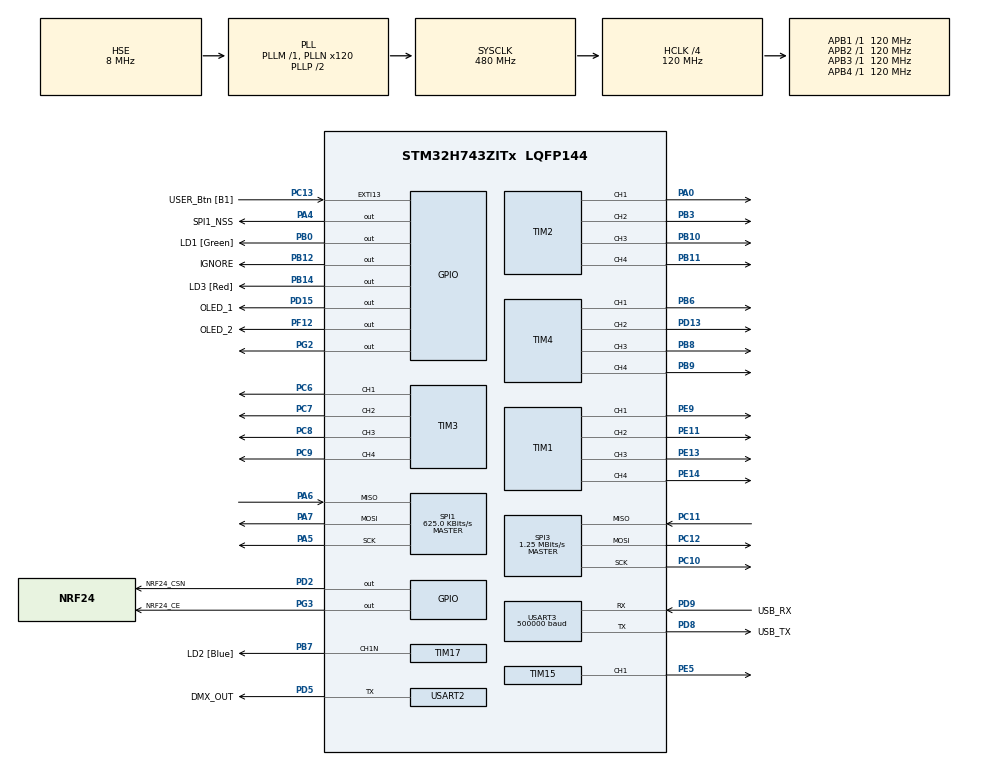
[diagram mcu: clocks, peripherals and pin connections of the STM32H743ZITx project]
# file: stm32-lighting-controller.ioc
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CORTEX_M7.CPU_ICache=Disabled
Dma.Request0=USART2_TX
Dma.Request1=TIM15_CH1
Dma.TIM15_CH1.1.Direction=DMA_MEMORY_TO_PERIPH
Dma.TIM15_CH1.1.EventEnable=DISABLE
Dma.TIM15_CH1.1.FIFOMode=DMA_FIFOMODE_DISABLE
Dma.TIM15_CH1.1.Instance=DMA1_Stream1
Dma.TIM15_CH1.1.MemDataAlignment=DMA_MDATAALIGN_HALFWORD
Dma.TIM15_CH1.1.MemInc=DMA_MINC_ENABLE
Dma.TIM15_CH1.1.Mode=DMA_CIRCULAR
Dma.TIM15_CH1.1.PeriphDataAlignment=DMA_PDATAALIGN_HALFWORD
Dma.TIM15_CH1.1.PeriphInc=DMA_PINC_DISABLE
Dma.TIM15_CH1.1.Polarity=HAL_DMAMUX_REQ_GEN_RISING
Dma.TIM15_CH1.1.Priority=DMA_PRIORITY_LOW
Dma.TIM15_CH1.1.RequestNumber=1
Dma.TIM15_CH1.1.SignalID=NONE
Dma.TIM15_CH1.1.SyncEnable=DISABLE
Dma.TIM15_CH1.1.SyncPolarity=HAL_DMAMUX_SYNC_NO_EVENT
Dma.TIM15_CH1.1.SyncRequestNumber=1
Dma.TIM15_CH1.1.SyncSignalID=NONE
Dma.USART2_TX.0.Direction=DMA_MEMORY_TO_PERIPH
Dma.USART2_TX.0.EventEnable=DISABLE
Dma.USART2_TX.0.FIFOMode=DMA_FIFOMODE_DISABLE
Dma.USART2_TX.0.Instance=DMA1_Stream0
Dma.USART2_TX.0.MemDataAlignment=DMA_MDATAALIGN_BYTE
Dma.USART2_TX.0.MemInc=DMA_MINC_ENABLE
Dma.USART2_TX.0.Mode=DMA_NORMAL
Dma.USART2_TX.0.PeriphDataAlignment=DMA_PDATAALIGN_BYTE
Dma.USART2_TX.0.PeriphInc=DMA_PINC_DISABLE
Dma.USART2_TX.0.Polarity=HAL_DMAMUX_REQ_GEN_RISING
Dma.USART2_TX.0.Priority=DMA_PRIORITY_MEDIUM
Dma.USART2_TX.0.RequestNumber=1
Dma.USART2_TX.0.SignalID=NONE
Dma.USART2_TX.0.SyncEnable=DISABLE
Dma.USART2_TX.0.SyncPolarity=HAL_DMAMUX_SYNC_NO_EVENT
Dma.USART2_TX.0.SyncRequestNumber=1
Dma.USART2_TX.0.SyncSignalID=NONE
Mcu.Family=STM32H7
Mcu.Name=STM32H743ZITx
Mcu.Package=LQFP144
Mdma.MDMA_Channel0.DMA1_Stream1_TC.0.BlockCount=0
Mdma.MDMA_Channel0.DMA1_Stream1_TC.0.BlockDataLength=0
Mdma.MDMA_Channel0.DMA1_Stream1_TC.0.BufferTransferLength=1
Mdma.MDMA_Channel0.DMA1_Stream1_TC.0.CircularMode=MDMA_LINEAR_LIST
Mdma.MDMA_Channel0.DMA1_Stream1_TC.0.DataAlignment=MDMA_DATAALIGN_RIGHT
Mdma.MDMA_Channel0.DMA1_Stream1_TC.0.DestBlockAddressOffset=0
Mdma.MDMA_Channel0.DMA1_Stream1_TC.0.DestBurst=MDMA_DEST_BURST_SINGLE
Mdma.MDMA_Channel0.DMA1_Stream1_TC.0.DestDataSize=MDMA_DEST_DATASIZE_WORD
Mdma.MDMA_Channel0.DMA1_Stream1_TC.0.DestinationInc=MDMA_DEST_INC_DISABLE
Mdma.MDMA_Channel0.DMA1_Stream1_TC.0.DstAddress=0
Mdma.MDMA_Channel0.DMA1_Stream1_TC.0.Endianness=MDMA_LITTLE_ENDIANNESS_PRESERVE
Mdma.MDMA_Channel0.DMA1_Stream1_TC.0.Instance=MDMA_Channel0
Mdma.MDMA_Channel0.DMA1_Stream1_TC.0.MaskAddress=0
Mdma.MDMA_Channel0.DMA1_Stream1_TC.0.MaskData=0
Mdma.MDMA_Channel0.DMA1_Stream1_TC.0.Priority=MDMA_PRIORITY_LOW
Mdma.MDMA_Channel0.DMA1_Stream1_TC.0.Rank=First
Mdma.MDMA_Channel0.DMA1_Stream1_TC.0.SourceBlockAddressOffset=0
Mdma.MDMA_Channel0.DMA1_Stream1_TC.0.SourceBurst=MDMA_SOURCE_BURST_SINGLE
Mdma.MDMA_Channel0.DMA1_Stream1_TC.0.SourceDataSize=MDMA_SRC_DATASIZE_BYTE
Mdma.MDMA_Channel0.DMA1_Stream1_TC.0.SourceInc=MDMA_SRC_INC_BYTE
Mdma.MDMA_Channel0.DMA1_Stream1_TC.0.SrcAddress=0
Mdma.MDMA_Channel0.DMA1_Stream1_TC.0.TransferTriggerMode=MDMA_REPEAT_BLOCK_TRANSFER
Mdma.MDMA_Channel0.Request0=DMA1_Stream1_TC
Mdma.MDMA_Channel0.RequestsNb=1
Mdma.RequestSet0=MDMA_Channel0
Mdma.RequestSetsNb=1
NVIC.DMA1_Stream0_IRQn=true\:6\:0\:true\:false\:true\:false\:true
NVIC.DMA1_Stream1_IRQn=true\:0\:0\:false\:false\:true\:false\:true
NVIC.EXTI15_10_IRQn=true\:12\:0\:true\:false\:true\:true\:true
NVIC.PriorityGroup=NVIC_PRIORITYGROUP_4
NVIC.TIM16_IRQn=true\:6\:0\:true\:false\:true\:true\:true
NVIC.TIM1_UP_IRQn=true\:12\:0\:true\:false\:true\:true\:true
NVIC.USART3_IRQn=true\:10\:0\:true\:false\:true\:true\:false
PA0.Signal=S_TIM2_CH1
PA4.GPIO_Label=SPI1_NSS
PA4.Signal=GPIO_Output
PA5.GPIO_PuPd=GPIO_NOPULL
PA5.GPIO_Speed=GPIO_SPEED_FREQ_VERY_HIGH
PA5.Mode=Full_Duplex_Master
PA5.Signal=SPI1_SCK
PA6.GPIO_PuPd=GPIO_NOPULL
PA6.GPIO_Speed=GPIO_SPEED_FREQ_VERY_HIGH
PA6.Mode=Full_Duplex_Master
PA6.Signal=SPI1_MISO
PA7.GPIO_PuPd=GPIO_NOPULL
PA7.GPIO_Speed=GPIO_SPEED_FREQ_VERY_HIGH
PA7.Mode=Full_Duplex_Master
PA7.Signal=SPI1_MOSI
PB0.GPIO_Label=LD1 [Green]
PB0.Signal=GPIO_Output
PB10.Signal=S_TIM2_CH3
PB11.Signal=S_TIM2_CH4
PB12.GPIO_Label=IGNORE
PB12.Signal=GPIO_Output
PB14.GPIO_Label=LD3 [Red]
PB14.Signal=GPIO_Output
PB3\ (JTDO/TRACESWO).Signal=S_TIM2_CH2
PB6.Signal=S_TIM4_CH1
PB7.GPIO_Label=LD2 [Blue]
PB7.Mode=PWM Generation1 CH1N
PB7.Signal=TIM17_CH1N
PB8.Signal=S_TIM4_CH3
PB9.Signal=S_TIM4_CH4
PC10.GPIO_Speed=GPIO_SPEED_FREQ_MEDIUM
PC10.Mode=Full_Duplex_Master
PC10.Signal=SPI3_SCK
PC11.GPIO_Speed=GPIO_SPEED_FREQ_MEDIUM
PC11.Mode=Full_Duplex_Master
PC11.Signal=SPI3_MISO
PC12.GPIO_Speed=GPIO_SPEED_FREQ_MEDIUM
PC12.Mode=Full_Duplex_Master
PC12.Signal=SPI3_MOSI
PC13.GPIO_Label=USER_Btn [B1]
PC13.GPIO_ModeDefaultEXTI=GPIO_MODE_IT_RISING_FALLING
PC13.Signal=GPXTI13
PC14-OSC32_IN\ (OSC32_IN).Mode=LSE-External-Oscillator
PC14-OSC32_IN\ (OSC32_IN).Signal=RCC_OSC32_IN
PC15-OSC32_OUT\ (OSC32_OUT).Mode=LSE-External-Oscillator
PC15-OSC32_OUT\ (OSC32_OUT).Signal=RCC_OSC32_OUT
PC6.Signal=S_TIM3_CH1
PC7.Signal=S_TIM3_CH2
PC8.Signal=S_TIM3_CH3
PC9.Signal=S_TIM3_CH4
PD13.Signal=S_TIM4_CH2
PD15.GPIO_Label=OLED_1
PD15.Signal=GPIO_Output
PD2.GPIO_Label=NRF24_CSN
PD2.GPIO_Speed=GPIO_SPEED_FREQ_MEDIUM
PD2.Signal=GPIO_Output
PD5.GPIO_Label=DMX_OUT
PD5.GPIO_ModeDefaultOD=GPIO_MODE_AF_PP
PD5.GPIO_PuPd=GPIO_PULLUP
PD5.Mode=Half_duplex(single_wire_mode)
PD5.Signal=USART2_TX
PD8.GPIO_Label=USB_TX
PD8.Mode=Asynchronous
PD8.Signal=USART3_TX
PD9.GPIO_Label=USB_RX
PD9.Mode=Asynchronous
PD9.Signal=USART3_RX
PE11.Signal=S_TIM1_CH2
PE13.Signal=S_TIM1_CH3
PE14.Signal=S_TIM1_CH4
PE5.GPIO_Speed=GPIO_SPEED_FREQ_HIGH
PE5.Signal=S_TIM15_CH1
PE9.Signal=S_TIM1_CH1
PF12.GPIO_Label=OLED_2
PF12.Signal=GPIO_Output
PF7.Signal=SPI5_SCK
PF8.Signal=SPI5_MISO
PF9.Signal=SPI5_MOSI
PG2.Signal=GPIO_Output
PG3.GPIO_Label=NRF24_CE
PG3.GPIO_Speed=GPIO_SPEED_FREQ_MEDIUM
PG3.Signal=GPIO_Output
PH0-OSC_IN\ (PH0).GPIO_Label=MCO
PH0-OSC_IN\ (PH0).Mode=HSE-External-Clock-Source
PH0-OSC_IN\ (PH0).Signal=RCC_OSC_IN
PH1-OSC_OUT\ (PH1).Mode=HSE-External-Clock-Source
PH1-OSC_OUT\ (PH1).Signal=RCC_OSC_OUT
ProjectManager.HeapSize=0x200
ProjectManager.StackSize=0x400
ProjectManager.TargetToolchain=SW4STM32
RCC.48MHZClocksFreq_Value=24000000
RCC.ADCFreq_Value=60000000
RCC.AHBFreq_Value=216000000
RCC.APB1CLKDivider=RCC_HCLK_DIV4
RCC.APB1Freq_Value=120000000
RCC.APB1TimFreq_Value=108000000
RCC.APB2CLKDivider=RCC_HCLK_DIV2
RCC.APB2Freq_Value=120000000
RCC.APB2TimFreq_Value=216000000
RCC.APB3Freq_Value=120000000
RCC.APB4Freq_Value=120000000
RCC.CortexFreq_Value=480000000
RCC.DIVM1=1
RCC.DIVM2=4
RCC.DIVN1=120
RCC.DIVN2=120
RCC.DIVP2=4
RCC.DIVQ1=24
RCC.HCLKFreq_Value=120000000
RCC.HPRE=RCC_HCLK_DIV4
RCC.HSE_VALUE=8000000
RCC.HSI_VALUE=64000000
RCC.PLLFRACN=0
RCC.PLLM=25
RCC.PLLMUL=RCC_PLL_MUL9
RCC.PLLN=432
RCC.PLLQ=9
RCC.PLLSourceVirtual=RCC_PLLSOURCE_HSE
RCC.PRESCALERUSB=RCC_USBCLKSOURCE_PLL_DIV1_5
RCC.PWR_Regulator_Voltage_Scale=PWR_REGULATOR_VOLTAGE_SCALE0
RCC.SYSCLKFreq_VALUE=480000000
RCC.SYSCLKSource=RCC_SYSCLKSOURCE_PLLCLK
RCC.SYSCLKSourceVirtual=RCC_SYSCLKSOURCE_PLLCLK
RCC.USBFreq_Value=40000000
RCC.VCOOutputFreq_Value=432000000
RNG.ClockErrorDetection=RNG_CED_DISABLE
SH.S_TIM15_CH1.0=TIM15_CH1,PWM Generation1 CH1
SH.S_TIM1_CH1.0=TIM1_CH1,PWM Generation1 CH1
SH.S_TIM1_CH2.0=TIM1_CH2,PWM Generation2 CH2
SH.S_TIM1_CH3.0=TIM1_CH3,PWM Generation3 CH3
SH.S_TIM1_CH4.0=TIM1_CH4,PWM Generation4 CH4
SH.S_TIM2_CH1.0=TIM2_CH1,PWM Generation1 CH1
SH.S_TIM2_CH2.0=TIM2_CH2,PWM Generation2 CH2
SH.S_TIM2_CH3.0=TIM2_CH3,PWM Generation3 CH3
SH.S_TIM2_CH4.0=TIM2_CH4,PWM Generation4 CH4
SH.S_TIM3_CH1.0=TIM3_CH1,PWM Generation1 CH1
SH.S_TIM3_CH2.0=TIM3_CH2,PWM Generation2 CH2
SH.S_TIM3_CH3.0=TIM3_CH3,PWM Generation3 CH3
SH.S_TIM3_CH4.0=TIM3_CH4,PWM Generation4 CH4
SH.S_TIM4_CH1.0=TIM4_CH1,PWM Generation1 CH1
SH.S_TIM4_CH2.0=TIM4_CH2,PWM Generation2 CH2
SH.S_TIM4_CH3.0=TIM4_CH3,PWM Generation3 CH3
SH.S_TIM4_CH4.0=TIM4_CH4,PWM Generation4 CH4
SPI1.BaudRatePrescaler=SPI_BAUDRATEPRESCALER_64
SPI1.CLKPolarity=SPI_POLARITY_LOW
SPI1.CalculateBaudRate=625.0 KBits/s
SPI1.DataSize=SPI_DATASIZE_8BIT
SPI1.Direction=SPI_DIRECTION_2LINES
SPI1.Mode=SPI_MODE_MASTER
SPI1.VirtualType=VM_MASTER
SPI3.BaudRatePrescaler=SPI_BAUDRATEPRESCALER_32
SPI3.CalculateBaudRate=1.25 MBits/s
SPI3.DataSize=SPI_DATASIZE_8BIT
SPI3.Direction=SPI_DIRECTION_2LINES
SPI3.FirstBit=SPI_FIRSTBIT_MSB
SPI3.Mode=SPI_MODE_MASTER
SPI3.VirtualType=VM_MASTER
TIM1.Channel-PWM\ Generation1\ CH1=TIM_CHANNEL_1
TIM1.Channel-PWM\ Generation2\ CH2=TIM_CHANNEL_2
TIM1.Channel-PWM\ Generation3\ CH3=TIM_CHANNEL_3
TIM1.Channel-PWM\ Generation4\ CH4=TIM_CHANNEL_4
TIM15.AutoReloadPreload=TIM_AUTORELOAD_PRELOAD_ENABLE
TIM15.Channel-PWM\ Generation1\ CH1=TIM_CHANNEL_1
TIM15.Period=2
TIM15.Prescaler=49
TIM15.Pulse-PWM\ Generation1\ CH1=2
TIM15.TIM_MasterOutputTrigger=TIM_TRGO_UPDATE
TIM16.AutoReloadPreload=TIM_AUTORELOAD_PRELOAD_DISABLE
TIM16.ClockDivision=TIM_CLOCKDIVISION_DIV1
TIM16.Period=100
TIM16.Prescaler=119
TIM17.Channel=TIM_CHANNEL_1
TIM17.OCNIdleState_1=TIM_OCNIDLESTATE_RESET
TIM17.OCNPolarity_1=TIM_OCNPOLARITY_HIGH
TIM2.Channel-PWM\ Generation1\ CH1=TIM_CHANNEL_1
TIM2.Channel-PWM\ Generation2\ CH2=TIM_CHANNEL_2
TIM2.Channel-PWM\ Generation3\ CH3=TIM_CHANNEL_3
TIM2.Channel-PWM\ Generation4\ CH4=TIM_CHANNEL_4
TIM3.Channel-PWM\ Generation1\ CH1=TIM_CHANNEL_1
TIM3.Channel-PWM\ Generation2\ CH2=TIM_CHANNEL_2
TIM3.Channel-PWM\ Generation3\ CH3=TIM_CHANNEL_3
TIM3.Channel-PWM\ Generation4\ CH4=TIM_CHANNEL_4
TIM4.Channel-PWM\ Generation1\ CH1=TIM_CHANNEL_1
TIM4.Channel-PWM\ Generation2\ CH2=TIM_CHANNEL_2
TIM4.Channel-PWM\ Generation3\ CH3=TIM_CHANNEL_3
TIM4.Channel-PWM\ Generation4\ CH4=TIM_CHANNEL_4
USART2.BaudRate=250000
USART2.Mode=MODE_TX
USART2.StopBits=STOPBITS_2
USART2.VirtualMode-Half_duplex(single_wire_mode)=VM_ASYNC
USART3.BaudRate=500000
USART3.FIFOMode=FIFOMODE_ENABLE
USART3.OverrunDisableParam=ADVFEATURE_OVERRUN_ENABLE
USART3.RXFIFOThreshold=RXFIFO_THRESHOLD_FULL
USART3.VirtualMode-Asynchronous=VM_ASYNC
VP_RNG_VS_RNG.Mode=RNG_Activate
VP_TIM15_VS_ClockSourceINT.Mode=Internal
VP_TIM16_VS_ClockSourceINT.Mode=Enable_Timer
VP_TIM16_VS_OPM.Mode=OPM_bit
VP_TIM17_VS_ClockSourceINT.Mode=Enable_Timer
board=NUCLEO-H743ZI

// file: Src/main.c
/* USER CODE BEGIN Header */
/**
  ******************************************************************************
  * @file           : main.c
  * @brief          : Main program body
  ******************************************************************************
  * @attention
  *
  * <h2><center>&copy; Copyright (c) 2019 STMicroelectronics.
  * All rights reserved.</center></h2>
  *
  * This software component is licensed by ST under BSD 3-Clause license,
  * the "License"; You may not use this file except in compliance with the
  * License. You may obtain a copy of the License at:
  *                        opensource.org/licenses/BSD-3-Clause
  *
  ******************************************************************************
  */
/* USER CODE END Header */

#include "main.h"

/* USER CODE BEGIN Includes */
#include "FreeRTOS.h"
#include "task.h"
#include <stream_buffer.h>
#include "pwmTask.h"
#include "universe.h"
#include "dmxTask.h"
#include "displayTask.h"
#include "addressableTask.h"
#include "serialTask.h"
#include "stm32h7xx_it.h"
#include "stm32h7xx_ll_usart.h"
#include <stdio.h>
#include <string.h>
#include <wirelessTask.h>
/* USER CODE END Includes */

RNG_HandleTypeDef hrng;

SPI_HandleTypeDef hspi1;
SPI_HandleTypeDef hspi3;

TIM_HandleTypeDef htim1;
TIM_HandleTypeDef htim2;
TIM_HandleTypeDef htim3;
TIM_HandleTypeDef htim4;
TIM_HandleTypeDef htim15;
TIM_HandleTypeDef htim16;
TIM_HandleTypeDef htim17;
DMA_HandleTypeDef hdma_tim15_ch1;

UART_HandleTypeDef huart2;
UART_HandleTypeDef huart3;
DMA_HandleTypeDef hdma_usart2_tx;

MDMA_HandleTypeDef hmdma_mdma_channel40_dma1_stream1_tc_0;
/* USER CODE BEGIN PV */
/**
 * Note on the usage of peripherals:
 * RNG: Random number generator for use in debugging
 * SPI1: OLED display
 * SPI3: nRF24L01+ wireless transceiver
 * UART2: DMX output (RS485)
 * UART3: Serial I/O (via ST-Link USB)
 * TIM1: PWM output and DMX transaction complete interrupt
 * TIM2: PWM output
 * TIM3: PWM output
 * TIM4: PWM output
 * TIM15: Addressable LED strip PWM output
 * TIM16: Special DMX pulse timer
 * TIM17: LD2 sample PWM output
 */

xTaskHandle pwmTaskHandle;
xTaskHandle dmxTaskHandle;
EventGroupHandle_t xPwmEventGroupHandle;
EventGroupHandle_t xButtonEventGroupHandle;
EventGroupHandle_t xSerialEventGroupHandle;
StreamBufferHandle_t xSerialReceiveBufferHandle;
QueueHandle_t xErrorQueueHandle;
/* USER CODE END PV */

void SystemClock_Config(void);
static void MX_GPIO_Init(void);
static void MX_USART3_UART_Init(void);
static void MX_TIM2_Init(void);
static void MX_TIM3_Init(void);
static void MX_TIM4_Init(void);
static void MX_USART2_UART_Init(void);
static void MX_SPI1_Init(void);
static void MX_TIM1_Init(void);
static void MX_TIM16_Init(void);
static void MX_RNG_Init(void);
static void MX_DMA_Init(void);
static void MX_TIM15_Init(void);
static void MX_MDMA_Init(void);
static void MX_TIM17_Init(void);
static void MX_SPI3_Init(void);

/* USER CODE BEGIN 0 */
void pingTask( void *pvParameters ) {
    static char string[DMX_MAX];

    universe[0] += 1;
    universe[1] += 1;

    while(1) {
        uint8_t strleng = snprintf(string, DMX_MAX, "%lu Hello Worldd\r\n", xTaskGetTickCount());

        HAL_UART_Transmit(&huart3, string, strleng, HAL_MAX_DELAY);

        static char buffer[40 * 20];
        vTaskGetRunTimeStats(buffer);
        HAL_UART_Transmit(&huart3, buffer, strlen(buffer), HAL_MAX_DELAY);

//        universe[0] = 255;
//        universe[1] += 1;
//        universe[2] += 4;
//        universe[3] += 1;
//        universe[10] += 1;
//        universe[6] += 1;
        xEventGroupSetBits(xPwmEventGroupHandle, PWMTASK_UPDATE_BIT);

        vTaskDelay(pdMS_TO_TICKS(1000));
    }
}
/* USER CODE END 0 */

int main(void)
{

  /* MCU Configuration--------------------------------------------------------*/

  /* Reset of all peripherals, Initializes the Flash interface and the Systick. */
  HAL_Init();

  /* USER CODE BEGIN Init */
    // SysTick is handled by FreeRTOS, so it mustn't be called, as the FreeRTOS memory is not initialized
    SysTick->CTRL &= ~SysTick_CTRL_ENABLE_Msk;
  /* USER CODE END Init */

  /* Configure the system clock */
  SystemClock_Config();

  /* USER CODE BEGIN SysInit */
    // Since SystemClock_Config reinitializes the system tick, disable it again
    SysTick->CTRL &= ~SysTick_CTRL_ENABLE_Msk;

    // Enable the DMA1 clock, since the order of initialization of STM32CubeMX is wrong
    __HAL_RCC_DMA1_CLK_ENABLE();
  /* USER CODE END SysInit */

  /* Initialize all configured peripherals */
  MX_GPIO_Init();
  MX_USART3_UART_Init();
  MX_TIM2_Init();
  MX_TIM3_Init();
  MX_TIM4_Init();
  MX_USART2_UART_Init();
  MX_SPI1_Init();
  MX_TIM1_Init();
  MX_TIM16_Init();
  MX_RNG_Init();
  MX_DMA_Init();
  MX_TIM15_Init();
  MX_MDMA_Init();
  MX_TIM17_Init();
  MX_SPI3_Init();
  /* USER CODE BEGIN 2 */
    HAL_UART_Transmit(&huart3, (uint8_t *) "Hello welrd\r\n", strlen("Hello welrd\r\n"), HAL_MAX_DELAY);

    // Workaround for a bug in the STM32H7 HAL library, which does not properly handle error interrupts for the UART3
    // peripheral. Error interrupts are apparently always enabled when Multi Buffer Communication is enabled, but this
    // is not considered in the HAL interrupt handler. As the interrupt handler bypasses the interrupt flag clear,
    // the interrupt function runs in an infinite loop and halts the program. Here we enable the error interrupt flag
    // for multi-buffer communication, so that HAL thinks it's enabled.
    LL_USART_EnableIT_ERROR(USART3);

  /* USER CODE END 2 */

  /* Infinite loop */
  /* USER CODE BEGIN WHILE */
    // Initialize the universe
    temporaryBlackout();

    xPwmEventGroupHandle = xEventGroupCreate();
    xButtonEventGroupHandle = xEventGroupCreate();
    xSerialEventGroupHandle = xEventGroupCreate();
    xSerialReceiveBufferHandle = xStreamBufferCreate(2048, 1);
    xErrorQueueHandle = xQueueCreate(1, ERROR_MESSAGE_SIZE);

    xTaskCreate(pingTask, "ping", 500, NULL, 0, NULL);
    xTaskCreate(dmxTask, "dmx", 500, NULL, 5, &dmxTaskHandle);
    xTaskCreate(pwmTask, "PWM", 1000, NULL, 4, &pwmTaskHandle);
    xTaskCreate(displayTask, "display", 5000, NULL, 3, NULL);
    xTaskCreate(addressableTask, "address", 1000, NULL, 4, NULL);
    xTaskCreate(serialReadTask, "serialR", 1000, NULL, 2, NULL);
    xTaskCreate(wirelessTask, "wireles", 1000, NULL, 2, NULL);

    // Re-enable the system clock
    SysTick->CTRL |= SysTick_CTRL_ENABLE_Msk;

    vTaskStartScheduler();
    /* USER CODE END WHILE */

}

void SystemClock_Config(void)
{
  RCC_OscInitTypeDef RCC_OscInitStruct = {0};
  RCC_ClkInitTypeDef RCC_ClkInitStruct = {0};
  RCC_PeriphCLKInitTypeDef PeriphClkInitStruct = {0};

  /** Supply configuration update enable
  */
  HAL_PWREx_ConfigSupply(PWR_LDO_SUPPLY);
  /** Configure the main internal regulator output voltage
  */
  __HAL_PWR_VOLTAGESCALING_CONFIG(PWR_REGULATOR_VOLTAGE_SCALE0);

  while(!__HAL_PWR_GET_FLAG(PWR_FLAG_VOSRDY)) {}
  /** Initializes the CPU, AHB and APB busses clocks
  */
  RCC_OscInitStruct.OscillatorType = RCC_OSCILLATORTYPE_HSI48|RCC_OSCILLATORTYPE_HSE;
  RCC_OscInitStruct.HSEState = RCC_HSE_BYPASS;
  RCC_OscInitStruct.HSI48State = RCC_HSI48_ON;
  RCC_OscInitStruct.PLL.PLLState = RCC_PLL_ON;
  RCC_OscInitStruct.PLL.PLLSource = RCC_PLLSOURCE_HSE;
  RCC_OscInitStruct.PLL.PLLM = 1;
  RCC_OscInitStruct.PLL.PLLN = 120;
  RCC_OscInitStruct.PLL.PLLP = 2;
  RCC_OscInitStruct.PLL.PLLQ = 24;
  RCC_OscInitStruct.PLL.PLLR = 2;
  RCC_OscInitStruct.PLL.PLLRGE = RCC_PLL1VCIRANGE_3;
  RCC_OscInitStruct.PLL.PLLVCOSEL = RCC_PLL1VCOWIDE;
  RCC_OscInitStruct.PLL.PLLFRACN = 0;
  if (HAL_RCC_OscConfig(&RCC_OscInitStruct) != HAL_OK)
  {
    Error_Handler();
  }
  /** Initializes the CPU, AHB and APB busses clocks
  */
  RCC_ClkInitStruct.ClockType = RCC_CLOCKTYPE_HCLK|RCC_CLOCKTYPE_SYSCLK
                              |RCC_CLOCKTYPE_PCLK1|RCC_CLOCKTYPE_PCLK2
                              |RCC_CLOCKTYPE_D3PCLK1|RCC_CLOCKTYPE_D1PCLK1;
  RCC_ClkInitStruct.SYSCLKSource = RCC_SYSCLKSOURCE_PLLCLK;
  RCC_ClkInitStruct.SYSCLKDivider = RCC_SYSCLK_DIV1;
  RCC_ClkInitStruct.AHBCLKDivider = RCC_HCLK_DIV4;
  RCC_ClkInitStruct.APB3CLKDivider = RCC_APB3_DIV1;
  RCC_ClkInitStruct.APB1CLKDivider = RCC_APB1_DIV1;
  RCC_ClkInitStruct.APB2CLKDivider = RCC_APB2_DIV1;
  RCC_ClkInitStruct.APB4CLKDivider = RCC_APB4_DIV1;

  if (HAL_RCC_ClockConfig(&RCC_ClkInitStruct, FLASH_LATENCY_1) != HAL_OK)
  {
    Error_Handler();
  }
  PeriphClkInitStruct.PeriphClockSelection = RCC_PERIPHCLK_USART3|RCC_PERIPHCLK_USART2
                              |RCC_PERIPHCLK_RNG|RCC_PERIPHCLK_SPI3
                              |RCC_PERIPHCLK_SPI1;
  PeriphClkInitStruct.Spi123ClockSelection = RCC_SPI123CLKSOURCE_PLL;
  PeriphClkInitStruct.Usart234578ClockSelection = RCC_USART234578CLKSOURCE_D2PCLK1;
  PeriphClkInitStruct.RngClockSelection = RCC_RNGCLKSOURCE_HSI48;
  if (HAL_RCCEx_PeriphCLKConfig(&PeriphClkInitStruct) != HAL_OK)
  {
    Error_Handler();
  }
}

static void MX_RNG_Init(void)
{

  hrng.Instance = RNG;
  hrng.Init.ClockErrorDetection = RNG_CED_DISABLE;
  if (HAL_RNG_Init(&hrng) != HAL_OK)
  {
    Error_Handler();
  }

}

static void MX_SPI1_Init(void)
{

  /* SPI1 parameter configuration*/
  hspi1.Instance = SPI1;
  hspi1.Init.Mode = SPI_MODE_MASTER;
  hspi1.Init.Direction = SPI_DIRECTION_2LINES;
  hspi1.Init.DataSize = SPI_DATASIZE_8BIT;
  hspi1.Init.CLKPolarity = SPI_POLARITY_LOW;
  hspi1.Init.CLKPhase = SPI_PHASE_1EDGE;
  hspi1.Init.NSS = SPI_NSS_SOFT;
  hspi1.Init.BaudRatePrescaler = SPI_BAUDRATEPRESCALER_64;
  hspi1.Init.FirstBit = SPI_FIRSTBIT_MSB;
  hspi1.Init.TIMode = SPI_TIMODE_DISABLE;
  hspi1.Init.CRCCalculation = SPI_CRCCALCULATION_DISABLE;
  hspi1.Init.CRCPolynomial = 0x0;
  hspi1.Init.NSSPMode = SPI_NSS_PULSE_ENABLE;
  hspi1.Init.NSSPolarity = SPI_NSS_POLARITY_LOW;
  hspi1.Init.FifoThreshold = SPI_FIFO_THRESHOLD_01DATA;
  hspi1.Init.TxCRCInitializationPattern = SPI_CRC_INITIALIZATION_ALL_ZERO_PATTERN;
  hspi1.Init.RxCRCInitializationPattern = SPI_CRC_INITIALIZATION_ALL_ZERO_PATTERN;
  hspi1.Init.MasterSSIdleness = SPI_MASTER_SS_IDLENESS_00CYCLE;
  hspi1.Init.MasterInterDataIdleness = SPI_MASTER_INTERDATA_IDLENESS_00CYCLE;
  hspi1.Init.MasterReceiverAutoSusp = SPI_MASTER_RX_AUTOSUSP_DISABLE;
  hspi1.Init.MasterKeepIOState = SPI_MASTER_KEEP_IO_STATE_DISABLE;
  hspi1.Init.IOSwap = SPI_IO_SWAP_DISABLE;
  if (HAL_SPI_Init(&hspi1) != HAL_OK)
  {
    Error_Handler();
  }

}

static void MX_SPI3_Init(void)
{

  /* SPI3 parameter configuration*/
  hspi3.Instance = SPI3;
  hspi3.Init.Mode = SPI_MODE_MASTER;
  hspi3.Init.Direction = SPI_DIRECTION_2LINES;
  hspi3.Init.DataSize = SPI_DATASIZE_8BIT;
  hspi3.Init.CLKPolarity = SPI_POLARITY_LOW;
  hspi3.Init.CLKPhase = SPI_PHASE_1EDGE;
  hspi3.Init.NSS = SPI_NSS_SOFT;
  hspi3.Init.BaudRatePrescaler = SPI_BAUDRATEPRESCALER_32;
  hspi3.Init.FirstBit = SPI_FIRSTBIT_MSB;
  hspi3.Init.TIMode = SPI_TIMODE_DISABLE;
  hspi3.Init.CRCCalculation = SPI_CRCCALCULATION_DISABLE;
  hspi3.Init.CRCPolynomial = 0x0;
  hspi3.Init.NSSPMode = SPI_NSS_PULSE_ENABLE;
  hspi3.Init.NSSPolarity = SPI_NSS_POLARITY_LOW;
  hspi3.Init.FifoThreshold = SPI_FIFO_THRESHOLD_01DATA;
  hspi3.Init.TxCRCInitializationPattern = SPI_CRC_INITIALIZATION_ALL_ZERO_PATTERN;
  hspi3.Init.RxCRCInitializationPattern = SPI_CRC_INITIALIZATION_ALL_ZERO_PATTERN;
  hspi3.Init.MasterSSIdleness = SPI_MASTER_SS_IDLENESS_00CYCLE;
  hspi3.Init.MasterInterDataIdleness = SPI_MASTER_INTERDATA_IDLENESS_00CYCLE;
  hspi3.Init.MasterReceiverAutoSusp = SPI_MASTER_RX_AUTOSUSP_DISABLE;
  hspi3.Init.MasterKeepIOState = SPI_MASTER_KEEP_IO_STATE_DISABLE;
  hspi3.Init.IOSwap = SPI_IO_SWAP_DISABLE;
  if (HAL_SPI_Init(&hspi3) != HAL_OK)
  {
    Error_Handler();
  }

}

static void MX_TIM1_Init(void)
{

  TIM_MasterConfigTypeDef sMasterConfig = {0};
  TIM_OC_InitTypeDef sConfigOC = {0};
  TIM_BreakDeadTimeConfigTypeDef sBreakDeadTimeConfig = {0};

  htim1.Instance = TIM1;
  htim1.Init.Prescaler = 0;
  htim1.Init.CounterMode = TIM_COUNTERMODE_UP;
  htim1.Init.Period = 0;
  htim1.Init.ClockDivision = TIM_CLOCKDIVISION_DIV1;
  htim1.Init.RepetitionCounter = 0;
  htim1.Init.AutoReloadPreload = TIM_AUTORELOAD_PRELOAD_DISABLE;
  if (HAL_TIM_PWM_Init(&htim1) != HAL_OK)
  {
    Error_Handler();
  }
  sMasterConfig.MasterOutputTrigger = TIM_TRGO_RESET;
  sMasterConfig.MasterOutputTrigger2 = TIM_TRGO2_RESET;
  sMasterConfig.MasterSlaveMode = TIM_MASTERSLAVEMODE_DISABLE;
  if (HAL_TIMEx_MasterConfigSynchronization(&htim1, &sMasterConfig) != HAL_OK)
  {
    Error_Handler();
  }
  sConfigOC.OCMode = TIM_OCMODE_PWM1;
  sConfigOC.Pulse = 0;
  sConfigOC.OCPolarity = TIM_OCPOLARITY_HIGH;
  sConfigOC.OCNPolarity = TIM_OCNPOLARITY_HIGH;
  sConfigOC.OCFastMode = TIM_OCFAST_DISABLE;
  sConfigOC.OCIdleState = TIM_OCIDLESTATE_RESET;
  sConfigOC.OCNIdleState = TIM_OCNIDLESTATE_RESET;
  if (HAL_TIM_PWM_ConfigChannel(&htim1, &sConfigOC, TIM_CHANNEL_1) != HAL_OK)
  {
    Error_Handler();
  }
  if (HAL_TIM_PWM_ConfigChannel(&htim1, &sConfigOC, TIM_CHANNEL_2) != HAL_OK)
  {
    Error_Handler();
  }
  if (HAL_TIM_PWM_ConfigChannel(&htim1, &sConfigOC, TIM_CHANNEL_3) != HAL_OK)
  {
    Error_Handler();
  }
  if (HAL_TIM_PWM_ConfigChannel(&htim1, &sConfigOC, TIM_CHANNEL_4) != HAL_OK)
  {
    Error_Handler();
  }
  sBreakDeadTimeConfig.OffStateRunMode = TIM_OSSR_DISABLE;
  sBreakDeadTimeConfig.OffStateIDLEMode = TIM_OSSI_DISABLE;
  sBreakDeadTimeConfig.LockLevel = TIM_LOCKLEVEL_OFF;
  sBreakDeadTimeConfig.DeadTime = 0;
  sBreakDeadTimeConfig.BreakState = TIM_BREAK_DISABLE;
  sBreakDeadTimeConfig.BreakPolarity = TIM_BREAKPOLARITY_HIGH;
  sBreakDeadTimeConfig.BreakFilter = 0;
  sBreakDeadTimeConfig.Break2State = TIM_BREAK2_DISABLE;
  sBreakDeadTimeConfig.Break2Polarity = TIM_BREAK2POLARITY_HIGH;
  sBreakDeadTimeConfig.Break2Filter = 0;
  sBreakDeadTimeConfig.AutomaticOutput = TIM_AUTOMATICOUTPUT_DISABLE;
  if (HAL_TIMEx_ConfigBreakDeadTime(&htim1, &sBreakDeadTimeConfig) != HAL_OK)
  {
    Error_Handler();
  }
  HAL_TIM_MspPostInit(&htim1);

}

static void MX_TIM2_Init(void)
{

  TIM_MasterConfigTypeDef sMasterConfig = {0};
  TIM_OC_InitTypeDef sConfigOC = {0};

  htim2.Instance = TIM2;
  htim2.Init.Prescaler = 0;
  htim2.Init.CounterMode = TIM_COUNTERMODE_UP;
  htim2.Init.Period = 0;
  htim2.Init.ClockDivision = TIM_CLOCKDIVISION_DIV1;
  htim2.Init.AutoReloadPreload = TIM_AUTORELOAD_PRELOAD_DISABLE;
  if (HAL_TIM_PWM_Init(&htim2) != HAL_OK)
  {
    Error_Handler();
  }
  sMasterConfig.MasterOutputTrigger = TIM_TRGO_RESET;
  sMasterConfig.MasterSlaveMode = TIM_MASTERSLAVEMODE_DISABLE;
  if (HAL_TIMEx_MasterConfigSynchronization(&htim2, &sMasterConfig) != HAL_OK)
  {
    Error_Handler();
  }
  sConfigOC.OCMode = TIM_OCMODE_PWM1;
  sConfigOC.Pulse = 0;
  sConfigOC.OCPolarity = TIM_OCPOLARITY_HIGH;
  sConfigOC.OCFastMode = TIM_OCFAST_DISABLE;
  if (HAL_TIM_PWM_ConfigChannel(&htim2, &sConfigOC, TIM_CHANNEL_1) != HAL_OK)
  {
    Error_Handler();
  }
  if (HAL_TIM_PWM_ConfigChannel(&htim2, &sConfigOC, TIM_CHANNEL_2) != HAL_OK)
  {
    Error_Handler();
  }
  if (HAL_TIM_PWM_ConfigChannel(&htim2, &sConfigOC, TIM_CHANNEL_3) != HAL_OK)
  {
    Error_Handler();
  }
  if (HAL_TIM_PWM_ConfigChannel(&htim2, &sConfigOC, TIM_CHANNEL_4) != HAL_OK)
  {
    Error_Handler();
  }
  HAL_TIM_MspPostInit(&htim2);

}

static void MX_TIM3_Init(void)
{

  TIM_MasterConfigTypeDef sMasterConfig = {0};
  TIM_OC_InitTypeDef sConfigOC = {0};

  htim3.Instance = TIM3;
  htim3.Init.Prescaler = 0;
  htim3.Init.CounterMode = TIM_COUNTERMODE_UP;
  htim3.Init.Period = 0;
  htim3.Init.ClockDivision = TIM_CLOCKDIVISION_DIV1;
  htim3.Init.AutoReloadPreload = TIM_AUTORELOAD_PRELOAD_DISABLE;
  if (HAL_TIM_PWM_Init(&htim3) != HAL_OK)
  {
    Error_Handler();
  }
  sMasterConfig.MasterOutputTrigger = TIM_TRGO_RESET;
  sMasterConfig.MasterSlaveMode = TIM_MASTERSLAVEMODE_DISABLE;
  if (HAL_TIMEx_MasterConfigSynchronization(&htim3, &sMasterConfig) != HAL_OK)
  {
    Error_Handler();
  }
  sConfigOC.OCMode = TIM_OCMODE_PWM1;
  sConfigOC.Pulse = 0;
  sConfigOC.OCPolarity = TIM_OCPOLARITY_HIGH;
  sConfigOC.OCFastMode = TIM_OCFAST_DISABLE;
  if (HAL_TIM_PWM_ConfigChannel(&htim3, &sConfigOC, TIM_CHANNEL_1) != HAL_OK)
  {
    Error_Handler();
  }
  if (HAL_TIM_PWM_ConfigChannel(&htim3, &sConfigOC, TIM_CHANNEL_2) != HAL_OK)
  {
    Error_Handler();
  }
  if (HAL_TIM_PWM_ConfigChannel(&htim3, &sConfigOC, TIM_CHANNEL_3) != HAL_OK)
  {
    Error_Handler();
  }
  if (HAL_TIM_PWM_ConfigChannel(&htim3, &sConfigOC, TIM_CHANNEL_4) != HAL_OK)
  {
    Error_Handler();
  }
  HAL_TIM_MspPostInit(&htim3);

}

static void MX_TIM4_Init(void)
{

  TIM_MasterConfigTypeDef sMasterConfig = {0};
  TIM_OC_InitTypeDef sConfigOC = {0};

  htim4.Instance = TIM4;
  htim4.Init.Prescaler = 0;
  htim4.Init.CounterMode = TIM_COUNTERMODE_UP;
  htim4.Init.Period = 0;
  htim4.Init.ClockDivision = TIM_CLOCKDIVISION_DIV1;
  htim4.Init.AutoReloadPreload = TIM_AUTORELOAD_PRELOAD_DISABLE;
  if (HAL_TIM_PWM_Init(&htim4) != HAL_OK)
  {
    Error_Handler();
  }
  sMasterConfig.MasterOutputTrigger = TIM_TRGO_RESET;
  sMasterConfig.MasterSlaveMode = TIM_MASTERSLAVEMODE_DISABLE;
  if (HAL_TIMEx_MasterConfigSynchronization(&htim4, &sMasterConfig) != HAL_OK)
  {
    Error_Handler();
  }
  sConfigOC.OCMode = TIM_OCMODE_PWM1;
  sConfigOC.Pulse = 0;
  sConfigOC.OCPolarity = TIM_OCPOLARITY_HIGH;
  sConfigOC.OCFastMode = TIM_OCFAST_DISABLE;
  if (HAL_TIM_PWM_ConfigChannel(&htim4, &sConfigOC, TIM_CHANNEL_1) != HAL_OK)
  {
    Error_Handler();
  }
  if (HAL_TIM_PWM_ConfigChannel(&htim4, &sConfigOC, TIM_CHANNEL_2) != HAL_OK)
  {
    Error_Handler();
  }
  if (HAL_TIM_PWM_ConfigChannel(&htim4, &sConfigOC, TIM_CHANNEL_3) != HAL_OK)
  {
    Error_Handler();
  }
  if (HAL_TIM_PWM_ConfigChannel(&htim4, &sConfigOC, TIM_CHANNEL_4) != HAL_OK)
  {
    Error_Handler();
  }
  HAL_TIM_MspPostInit(&htim4);

}

static void MX_TIM15_Init(void)
{

  TIM_ClockConfigTypeDef sClockSourceConfig = {0};
  TIM_MasterConfigTypeDef sMasterConfig = {0};
  TIM_OC_InitTypeDef sConfigOC = {0};
  TIM_BreakDeadTimeConfigTypeDef sBreakDeadTimeConfig = {0};

  htim15.Instance = TIM15;
  htim15.Init.Prescaler = 49;
  htim15.Init.CounterMode = TIM_COUNTERMODE_UP;
  htim15.Init.Period = 2;
  htim15.Init.ClockDivision = TIM_CLOCKDIVISION_DIV1;
  htim15.Init.RepetitionCounter = 0;
  htim15.Init.AutoReloadPreload = TIM_AUTORELOAD_PRELOAD_ENABLE;
  if (HAL_TIM_Base_Init(&htim15) != HAL_OK)
  {
    Error_Handler();
  }
  sClockSourceConfig.ClockSource = TIM_CLOCKSOURCE_INTERNAL;
  if (HAL_TIM_ConfigClockSource(&htim15, &sClockSourceConfig) != HAL_OK)
  {
    Error_Handler();
  }
  if (HAL_TIM_PWM_Init(&htim15) != HAL_OK)
  {
    Error_Handler();
  }
  sMasterConfig.MasterOutputTrigger = TIM_TRGO_UPDATE;
  sMasterConfig.MasterSlaveMode = TIM_MASTERSLAVEMODE_DISABLE;
  if (HAL_TIMEx_MasterConfigSynchronization(&htim15, &sMasterConfig) != HAL_OK)
  {
    Error_Handler();
  }
  sConfigOC.OCMode = TIM_OCMODE_PWM1;
  sConfigOC.Pulse = 2;
  sConfigOC.OCPolarity = TIM_OCPOLARITY_HIGH;
  sConfigOC.OCNPolarity = TIM_OCNPOLARITY_HIGH;
  sConfigOC.OCFastMode = TIM_OCFAST_DISABLE;
  sConfigOC.OCIdleState = TIM_OCIDLESTATE_RESET;
  sConfigOC.OCNIdleState = TIM_OCNIDLESTATE_RESET;
  if (HAL_TIM_PWM_ConfigChannel(&htim15, &sConfigOC, TIM_CHANNEL_1) != HAL_OK)
  {
    Error_Handler();
  }
  sBreakDeadTimeConfig.OffStateRunMode = TIM_OSSR_DISABLE;
  sBreakDeadTimeConfig.OffStateIDLEMode = TIM_OSSI_DISABLE;
  sBreakDeadTimeConfig.LockLevel = TIM_LOCKLEVEL_OFF;
  sBreakDeadTimeConfig.DeadTime = 0;
  sBreakDeadTimeConfig.BreakState = TIM_BREAK_DISABLE;
  sBreakDeadTimeConfig.BreakPolarity = TIM_BREAKPOLARITY_HIGH;
  sBreakDeadTimeConfig.BreakFilter = 0;
  sBreakDeadTimeConfig.AutomaticOutput = TIM_AUTOMATICOUTPUT_DISABLE;
  if (HAL_TIMEx_ConfigBreakDeadTime(&htim15, &sBreakDeadTimeConfig) != HAL_OK)
  {
    Error_Handler();
  }
  HAL_TIM_MspPostInit(&htim15);

}

static void MX_TIM16_Init(void)
{

  htim16.Instance = TIM16;
  htim16.Init.Prescaler = 119;
  htim16.Init.CounterMode = TIM_COUNTERMODE_UP;
  htim16.Init.Period = 100;
  htim16.Init.ClockDivision = TIM_CLOCKDIVISION_DIV1;
  htim16.Init.RepetitionCounter = 0;
  htim16.Init.AutoReloadPreload = TIM_AUTORELOAD_PRELOAD_DISABLE;
  if (HAL_TIM_Base_Init(&htim16) != HAL_OK)
  {
    Error_Handler();
  }
  if (HAL_TIM_OnePulse_Init(&htim16, TIM_OPMODE_SINGLE) != HAL_OK)
  {
    Error_Handler();
  }

}

static void MX_TIM17_Init(void)
{

  TIM_OC_InitTypeDef sConfigOC = {0};
  TIM_BreakDeadTimeConfigTypeDef sBreakDeadTimeConfig = {0};

  htim17.Instance = TIM17;
  htim17.Init.Prescaler = 0;
  htim17.Init.CounterMode = TIM_COUNTERMODE_UP;
  htim17.Init.Period = 0;
  htim17.Init.ClockDivision = TIM_CLOCKDIVISION_DIV1;
  htim17.Init.RepetitionCounter = 0;
  htim17.Init.AutoReloadPreload = TIM_AUTORELOAD_PRELOAD_DISABLE;
  if (HAL_TIM_Base_Init(&htim17) != HAL_OK)
  {
    Error_Handler();
  }
  if (HAL_TIM_PWM_Init(&htim17) != HAL_OK)
  {
    Error_Handler();
  }
  sConfigOC.OCMode = TIM_OCMODE_PWM1;
  sConfigOC.Pulse = 0;
  sConfigOC.OCPolarity = TIM_OCPOLARITY_HIGH;
  sConfigOC.OCNPolarity = TIM_OCNPOLARITY_HIGH;
  sConfigOC.OCFastMode = TIM_OCFAST_DISABLE;
  sConfigOC.OCIdleState = TIM_OCIDLESTATE_RESET;
  sConfigOC.OCNIdleState = TIM_OCNIDLESTATE_RESET;
  if (HAL_TIM_PWM_ConfigChannel(&htim17, &sConfigOC, TIM_CHANNEL_1) != HAL_OK)
  {
    Error_Handler();
  }
  sBreakDeadTimeConfig.OffStateRunMode = TIM_OSSR_DISABLE;
  sBreakDeadTimeConfig.OffStateIDLEMode = TIM_OSSI_DISABLE;
  sBreakDeadTimeConfig.LockLevel = TIM_LOCKLEVEL_OFF;
  sBreakDeadTimeConfig.DeadTime = 0;
  sBreakDeadTimeConfig.BreakState = TIM_BREAK_DISABLE;
  sBreakDeadTimeConfig.BreakPolarity = TIM_BREAKPOLARITY_HIGH;
  sBreakDeadTimeConfig.BreakFilter = 0;
  sBreakDeadTimeConfig.AutomaticOutput = TIM_AUTOMATICOUTPUT_DISABLE;
  if (HAL_TIMEx_ConfigBreakDeadTime(&htim17, &sBreakDeadTimeConfig) != HAL_OK)
  {
    Error_Handler();
  }
  HAL_TIM_MspPostInit(&htim17);

}

static void MX_USART2_UART_Init(void)
{

  huart2.Instance = USART2;
  huart2.Init.BaudRate = 250000;
  huart2.Init.WordLength = UART_WORDLENGTH_8B;
  huart2.Init.StopBits = UART_STOPBITS_2;
  huart2.Init.Parity = UART_PARITY_NONE;
  huart2.Init.Mode = UART_MODE_TX;
  huart2.Init.HwFlowCtl = UART_HWCONTROL_NONE;
  huart2.Init.OverSampling = UART_OVERSAMPLING_16;
  huart2.Init.OneBitSampling = UART_ONE_BIT_SAMPLE_DISABLE;
  huart2.Init.ClockPrescaler = UART_PRESCALER_DIV1;
  huart2.AdvancedInit.AdvFeatureInit = UART_ADVFEATURE_NO_INIT;
  if (HAL_HalfDuplex_Init(&huart2) != HAL_OK)
  {
    Error_Handler();
  }
  if (HAL_UARTEx_SetTxFifoThreshold(&huart2, UART_TXFIFO_THRESHOLD_1_8) != HAL_OK)
  {
    Error_Handler();
  }
  if (HAL_UARTEx_SetRxFifoThreshold(&huart2, UART_RXFIFO_THRESHOLD_1_8) != HAL_OK)
  {
    Error_Handler();
  }
  if (HAL_UARTEx_DisableFifoMode(&huart2) != HAL_OK)
  {
    Error_Handler();
  }

}

static void MX_USART3_UART_Init(void)
{

  huart3.Instance = USART3;
  huart3.Init.BaudRate = 500000;
  huart3.Init.WordLength = UART_WORDLENGTH_8B;
  huart3.Init.StopBits = UART_STOPBITS_1;
  huart3.Init.Parity = UART_PARITY_NONE;
  huart3.Init.Mode = UART_MODE_TX_RX;
  huart3.Init.HwFlowCtl = UART_HWCONTROL_NONE;
  huart3.Init.OverSampling = UART_OVERSAMPLING_16;
  huart3.Init.OneBitSampling = UART_ONE_BIT_SAMPLE_DISABLE;
  huart3.Init.ClockPrescaler = UART_PRESCALER_DIV1;
  huart3.AdvancedInit.AdvFeatureInit = UART_ADVFEATURE_NO_INIT;
  if (HAL_UART_Init(&huart3) != HAL_OK)
  {
    Error_Handler();
  }
  if (HAL_UARTEx_SetTxFifoThreshold(&huart3, UART_TXFIFO_THRESHOLD_1_8) != HAL_OK)
  {
    Error_Handler();
  }
  if (HAL_UARTEx_SetRxFifoThreshold(&huart3, UART_RXFIFO_THRESHOLD_8_8) != HAL_OK)
  {
    Error_Handler();
  }
  if (HAL_UARTEx_EnableFifoMode(&huart3) != HAL_OK)
  {
    Error_Handler();
  }

}

static void MX_DMA_Init(void)
{

  /* DMA controller clock enable */
  __HAL_RCC_DMA1_CLK_ENABLE();

  /* DMA interrupt init */
  /* DMA1_Stream0_IRQn interrupt configuration */
  HAL_NVIC_SetPriority(DMA1_Stream0_IRQn, 6, 0);
  HAL_NVIC_EnableIRQ(DMA1_Stream0_IRQn);
  /* DMA1_Stream1_IRQn interrupt configuration */
  HAL_NVIC_SetPriority(DMA1_Stream1_IRQn, 0, 0);
  HAL_NVIC_EnableIRQ(DMA1_Stream1_IRQn);

}

/**
  * Enable MDMA controller clock
  * Configure MDMA for global transfers
  *   hmdma_mdma_channel40_dma1_stream1_tc_0
  */
static void MX_MDMA_Init(void)
{

  /* MDMA controller clock enable */
  __HAL_RCC_MDMA_CLK_ENABLE();
  /* Local variables */

  /* Configure MDMA channel MDMA_Channel0 */
  /* Configure MDMA request hmdma_mdma_channel40_dma1_stream1_tc_0 on MDMA_Channel0 */
  hmdma_mdma_channel40_dma1_stream1_tc_0.Instance = MDMA_Channel0;
  hmdma_mdma_channel40_dma1_stream1_tc_0.Init.Request = MDMA_REQUEST_DMA1_Stream1_TC;
  hmdma_mdma_channel40_dma1_stream1_tc_0.Init.TransferTriggerMode = MDMA_REPEAT_BLOCK_TRANSFER;
  hmdma_mdma_channel40_dma1_stream1_tc_0.Init.Priority = MDMA_PRIORITY_LOW;
  hmdma_mdma_channel40_dma1_stream1_tc_0.Init.Endianness = MDMA_LITTLE_ENDIANNESS_PRESERVE;
  hmdma_mdma_channel40_dma1_stream1_tc_0.Init.SourceInc = MDMA_SRC_INC_BYTE;
  hmdma_mdma_channel40_dma1_stream1_tc_0.Init.DestinationInc = MDMA_DEST_INC_DISABLE;
  hmdma_mdma_channel40_dma1_stream1_tc_0.Init.SourceDataSize = MDMA_SRC_DATASIZE_BYTE;
  hmdma_mdma_channel40_dma1_stream1_tc_0.Init.DestDataSize = MDMA_DEST_DATASIZE_WORD;
  hmdma_mdma_channel40_dma1_stream1_tc_0.Init.DataAlignment = MDMA_DATAALIGN_RIGHT;
  hmdma_mdma_channel40_dma1_stream1_tc_0.Init.BufferTransferLength = 1;
  hmdma_mdma_channel40_dma1_stream1_tc_0.Init.SourceBurst = MDMA_SOURCE_BURST_SINGLE;
  hmdma_mdma_channel40_dma1_stream1_tc_0.Init.DestBurst = MDMA_DEST_BURST_SINGLE;
  hmdma_mdma_channel40_dma1_stream1_tc_0.Init.SourceBlockAddressOffset = 0;
  hmdma_mdma_channel40_dma1_stream1_tc_0.Init.DestBlockAddressOffset = 0;
  if (HAL_MDMA_Init(&hmdma_mdma_channel40_dma1_stream1_tc_0) != HAL_OK)
  {
    Error_Handler();
  }

}

static void MX_GPIO_Init(void)
{
  GPIO_InitTypeDef GPIO_InitStruct = {0};

  /* GPIO Ports Clock Enable */
  __HAL_RCC_GPIOE_CLK_ENABLE();
  __HAL_RCC_GPIOC_CLK_ENABLE();
  __HAL_RCC_GPIOF_CLK_ENABLE();
  __HAL_RCC_GPIOH_CLK_ENABLE();
  __HAL_RCC_GPIOA_CLK_ENABLE();
  __HAL_RCC_GPIOB_CLK_ENABLE();
  __HAL_RCC_GPIOD_CLK_ENABLE();
  __HAL_RCC_GPIOG_CLK_ENABLE();

  /*Configure GPIO pin Output Level */
  HAL_GPIO_WritePin(SPI1_NSS_GPIO_Port, SPI1_NSS_Pin, GPIO_PIN_RESET);

  /*Configure GPIO pin Output Level */
  HAL_GPIO_WritePin(GPIOB, LD1_Pin|IGNORE_Pin|LD3_Pin, GPIO_PIN_RESET);

  /*Configure GPIO pin Output Level */
  HAL_GPIO_WritePin(OLED_2_GPIO_Port, OLED_2_Pin, GPIO_PIN_RESET);

  /*Configure GPIO pin Output Level */
  HAL_GPIO_WritePin(GPIOD, OLED_1_Pin|NRF24_CSN_Pin, GPIO_PIN_RESET);

  /*Configure GPIO pin Output Level */
  HAL_GPIO_WritePin(GPIOG, GPIO_PIN_2|NRF24_CE_Pin, GPIO_PIN_RESET);

  /*Configure GPIO pin : USER_Btn_Pin */
  GPIO_InitStruct.Pin = USER_Btn_Pin;
  GPIO_InitStruct.Mode = GPIO_MODE_IT_RISING_FALLING;
  GPIO_InitStruct.Pull = GPIO_NOPULL;
  HAL_GPIO_Init(USER_Btn_GPIO_Port, &GPIO_InitStruct);

  /*Configure GPIO pins : PF7 PF8 PF9 */
  GPIO_InitStruct.Pin = GPIO_PIN_7|GPIO_PIN_8|GPIO_PIN_9;
  GPIO_InitStruct.Mode = GPIO_MODE_AF_PP;
  GPIO_InitStruct.Pull = GPIO_NOPULL;
  GPIO_InitStruct.Speed = GPIO_SPEED_FREQ_LOW;
  GPIO_InitStruct.Alternate = GPIO_AF5_SPI5;
  HAL_GPIO_Init(GPIOF, &GPIO_InitStruct);

  /*Configure GPIO pin : SPI1_NSS_Pin */
  GPIO_InitStruct.Pin = SPI1_NSS_Pin;
  GPIO_InitStruct.Mode = GPIO_MODE_OUTPUT_PP;
  GPIO_InitStruct.Pull = GPIO_NOPULL;
  GPIO_InitStruct.Speed = GPIO_SPEED_FREQ_LOW;
  HAL_GPIO_Init(SPI1_NSS_GPIO_Port, &GPIO_InitStruct);

  /*Configure GPIO pins : LD1_Pin IGNORE_Pin LD3_Pin */
  GPIO_InitStruct.Pin = LD1_Pin|IGNORE_Pin|LD3_Pin;
  GPIO_InitStruct.Mode = GPIO_MODE_OUTPUT_PP;
  GPIO_InitStruct.Pull = GPIO_NOPULL;
  GPIO_InitStruct.Speed = GPIO_SPEED_FREQ_LOW;
  HAL_GPIO_Init(GPIOB, &GPIO_InitStruct);

  /*Configure GPIO pin : OLED_2_Pin */
  GPIO_InitStruct.Pin = OLED_2_Pin;
  GPIO_InitStruct.Mode = GPIO_MODE_OUTPUT_PP;
  GPIO_InitStruct.Pull = GPIO_NOPULL;
  GPIO_InitStruct.Speed = GPIO_SPEED_FREQ_LOW;
  HAL_GPIO_Init(OLED_2_GPIO_Port, &GPIO_InitStruct);

  /*Configure GPIO pin : OLED_1_Pin */
  GPIO_InitStruct.Pin = OLED_1_Pin;
  GPIO_InitStruct.Mode = GPIO_MODE_OUTPUT_PP;
  GPIO_InitStruct.Pull = GPIO_NOPULL;
  GPIO_InitStruct.Speed = GPIO_SPEED_FREQ_LOW;
  HAL_GPIO_Init(OLED_1_GPIO_Port, &GPIO_InitStruct);

  /*Configure GPIO pin : PG2 */
  GPIO_InitStruct.Pin = GPIO_PIN_2;
  GPIO_InitStruct.Mode = GPIO_MODE_OUTPUT_PP;
  GPIO_InitStruct.Pull = GPIO_NOPULL;
  GPIO_InitStruct.Speed = GPIO_SPEED_FREQ_LOW;
  HAL_GPIO_Init(GPIOG, &GPIO_InitStruct);

  /*Configure GPIO pin : NRF24_CE_Pin */
  GPIO_InitStruct.Pin = NRF24_CE_Pin;
  GPIO_InitStruct.Mode = GPIO_MODE_OUTPUT_PP;
  GPIO_InitStruct.Pull = GPIO_NOPULL;
  GPIO_InitStruct.Speed = GPIO_SPEED_FREQ_MEDIUM;
  HAL_GPIO_Init(NRF24_CE_GPIO_Port, &GPIO_InitStruct);

  /*Configure GPIO pin : NRF24_CSN_Pin */
  GPIO_InitStruct.Pin = NRF24_CSN_Pin;
  GPIO_InitStruct.Mode = GPIO_MODE_OUTPUT_PP;
  GPIO_InitStruct.Pull = GPIO_NOPULL;
  GPIO_InitStruct.Speed = GPIO_SPEED_FREQ_MEDIUM;
  HAL_GPIO_Init(NRF24_CSN_GPIO_Port, &GPIO_InitStruct);

  /* EXTI interrupt init*/
  HAL_NVIC_SetPriority(EXTI15_10_IRQn, 12, 0);
  HAL_NVIC_EnableIRQ(EXTI15_10_IRQn);

}

/* USER CODE BEGIN 4 */
void HAL_Delay(uint32_t Delay) {
    vTaskDelay(Delay);
}
/* USER CODE END 4 */

void Error_Handler(void)
{
}

/************************ (C) COPYRIGHT STMicroelectronics *****END OF FILE****/
